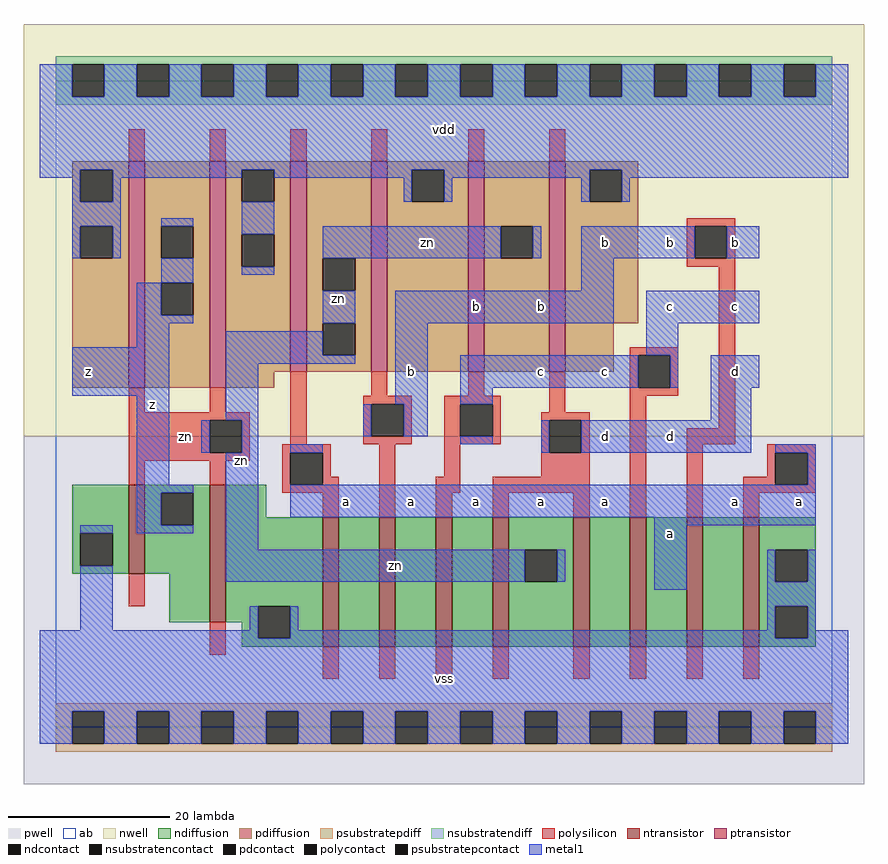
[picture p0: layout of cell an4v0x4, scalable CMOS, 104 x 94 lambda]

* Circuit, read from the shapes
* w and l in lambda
.subckt an4v0x4 a b c d vdd vss z zn
M1 z zn vss vss nfet w=11 l=2
M2 vss zn z vss nfet w=17 l=2
M3 n1 a vss vss nfet w=16 l=2
M4 n2 b n1 vss nfet w=16 l=2
M5 n3 c n2 vss nfet w=16 l=2
M6 zn d n3 vss nfet w=16 l=2
M7 n4 d zn vss nfet w=16 l=2
M8 n5 c n4 vss nfet w=16 l=2
M9 n6 b n5 vss nfet w=16 l=2
M10 vss a n6 vss nfet w=16 l=2
M11 z zn vdd vdd pfet w=28 l=2 m=2
M12 zn a vdd vdd pfet w=26 l=2
M13 vdd b zn vdd pfet w=26 l=2
M14 zn c vdd vdd pfet w=26 l=2
M15 vdd d zn vdd pfet w=26 l=2
.ends

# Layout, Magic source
magic
tech scmos
<< ab >>
rect 0 0 96 80
<< pwell >>
rect -4 -7 100 36
<< nwell >>
rect -4 36 100 87
<< polysilicon >>
rect 9 70 11 74
rect 19 70 21 74
rect 29 70 31 74
rect 39 70 41 74
rect 51 70 53 74
rect 61 70 63 74
rect 78 62 84 63
rect 78 58 79 62
rect 83 58 84 62
rect 78 57 84 58
rect 71 46 77 47
rect 9 39 11 42
rect 19 39 21 42
rect 9 38 24 39
rect 9 34 19 38
rect 23 34 24 38
rect 29 35 31 44
rect 39 41 41 44
rect 51 41 53 44
rect 38 40 44 41
rect 38 36 39 40
rect 43 36 44 40
rect 38 35 44 36
rect 48 40 55 41
rect 48 36 50 40
rect 54 36 55 40
rect 61 39 63 44
rect 71 42 72 46
rect 76 42 77 46
rect 71 41 77 42
rect 48 35 55 36
rect 60 38 66 39
rect 9 33 24 34
rect 28 34 34 35
rect 9 30 11 33
rect 19 30 21 33
rect 28 30 29 34
rect 33 31 34 34
rect 33 30 35 31
rect 9 15 11 19
rect 28 29 35 30
rect 33 26 35 29
rect 40 26 42 35
rect 48 31 50 35
rect 60 34 61 38
rect 65 34 66 38
rect 60 31 66 34
rect 47 29 50 31
rect 54 29 66 31
rect 47 26 49 29
rect 54 26 56 29
rect 64 26 66 29
rect 71 26 73 41
rect 82 37 84 57
rect 78 35 84 37
rect 78 26 80 35
rect 88 34 94 35
rect 88 31 89 34
rect 85 30 89 31
rect 93 30 94 34
rect 85 29 94 30
rect 85 26 87 29
rect 19 9 21 13
rect 33 6 35 10
rect 40 6 42 10
rect 47 6 49 10
rect 54 6 56 10
rect 64 6 66 10
rect 71 6 73 10
rect 78 6 80 10
rect 85 6 87 10
<< ndiffusion >>
rect 2 24 9 30
rect 2 20 3 24
rect 7 20 9 24
rect 2 19 9 20
rect 11 29 19 30
rect 11 25 13 29
rect 17 25 19 29
rect 11 19 19 25
rect 14 13 19 19
rect 21 26 26 30
rect 21 15 33 26
rect 21 13 25 15
rect 23 11 25 13
rect 29 11 33 15
rect 23 10 33 11
rect 35 10 40 26
rect 42 10 47 26
rect 49 10 54 26
rect 56 22 64 26
rect 56 18 58 22
rect 62 18 64 22
rect 56 10 64 18
rect 66 10 71 26
rect 73 10 78 26
rect 80 10 85 26
rect 87 22 94 26
rect 87 18 89 22
rect 93 18 94 22
rect 87 15 94 18
rect 87 11 89 15
rect 93 11 94 15
rect 87 10 94 11
<< pdiffusion >>
rect 2 69 9 70
rect 2 65 3 69
rect 7 65 9 69
rect 2 62 9 65
rect 2 58 3 62
rect 7 58 9 62
rect 2 42 9 58
rect 11 62 19 70
rect 11 58 13 62
rect 17 58 19 62
rect 11 55 19 58
rect 11 51 13 55
rect 17 51 19 55
rect 11 42 19 51
rect 21 69 29 70
rect 21 65 23 69
rect 27 65 29 69
rect 21 61 29 65
rect 21 57 23 61
rect 27 57 29 61
rect 21 44 29 57
rect 31 58 39 70
rect 31 54 33 58
rect 37 54 39 58
rect 31 50 39 54
rect 31 46 33 50
rect 37 46 39 50
rect 31 44 39 46
rect 41 69 51 70
rect 41 65 44 69
rect 48 65 51 69
rect 41 44 51 65
rect 53 62 61 70
rect 53 58 55 62
rect 59 58 61 62
rect 53 44 61 58
rect 63 69 72 70
rect 63 65 66 69
rect 70 65 72 69
rect 63 50 72 65
rect 63 44 69 50
rect 21 42 27 44
<< metal1 >>
rect -2 78 2 82
rect 6 78 10 82
rect 14 78 18 82
rect 22 78 26 82
rect 30 78 34 82
rect 38 78 42 82
rect 46 78 50 82
rect 54 78 58 82
rect 62 78 66 82
rect 70 78 74 82
rect 78 78 82 82
rect 86 78 90 82
rect 94 78 98 82
rect -2 69 98 78
rect -2 68 3 69
rect 2 65 3 68
rect 7 68 23 69
rect 7 65 8 68
rect 2 62 8 65
rect 27 68 44 69
rect 43 65 44 68
rect 48 68 66 69
rect 48 65 49 68
rect 65 65 66 68
rect 70 68 98 69
rect 70 65 71 68
rect 2 58 3 62
rect 7 58 8 62
rect 13 62 17 63
rect 13 55 17 58
rect 23 61 27 65
rect 23 56 27 57
rect 33 58 55 62
rect 59 58 60 62
rect 65 58 79 62
rect 83 58 87 62
rect 10 51 13 55
rect 10 50 17 51
rect 65 54 69 58
rect 33 50 37 54
rect 10 47 14 50
rect 2 41 14 47
rect 10 30 14 41
rect 21 46 33 49
rect 21 45 37 46
rect 42 50 69 54
rect 73 50 87 54
rect 21 38 25 45
rect 42 40 46 50
rect 73 46 77 50
rect 18 34 19 38
rect 23 34 25 38
rect 38 36 39 40
rect 43 36 46 40
rect 50 42 72 46
rect 76 42 77 46
rect 81 42 87 46
rect 50 40 54 42
rect 81 38 86 42
rect 50 35 54 36
rect 10 29 17 30
rect 10 25 13 29
rect 3 24 7 25
rect 10 24 17 25
rect 3 12 7 20
rect 21 22 25 34
rect 29 34 33 35
rect 60 34 61 38
rect 65 34 86 38
rect 89 34 94 35
rect 93 30 94 34
rect 29 26 94 30
rect 74 25 94 26
rect 21 18 58 22
rect 62 18 63 22
rect 74 17 78 25
rect 88 18 89 22
rect 93 18 94 22
rect 88 15 94 18
rect 24 12 25 15
rect -2 11 25 12
rect 29 12 30 15
rect 88 12 89 15
rect 29 11 89 12
rect 93 12 94 15
rect 93 11 98 12
rect -2 2 98 11
rect -2 -2 2 2
rect 6 -2 10 2
rect 14 -2 18 2
rect 22 -2 26 2
rect 30 -2 34 2
rect 38 -2 42 2
rect 46 -2 50 2
rect 54 -2 58 2
rect 62 -2 66 2
rect 70 -2 74 2
rect 78 -2 82 2
rect 86 -2 90 2
rect 94 -2 98 2
<< ntransistor >>
rect 9 19 11 30
rect 19 13 21 30
rect 33 10 35 26
rect 40 10 42 26
rect 47 10 49 26
rect 54 10 56 26
rect 64 10 66 26
rect 71 10 73 26
rect 78 10 80 26
rect 85 10 87 26
<< ptransistor >>
rect 9 42 11 70
rect 19 42 21 70
rect 29 44 31 70
rect 39 44 41 70
rect 51 44 53 70
rect 61 44 63 70
<< polycontact >>
rect 79 58 83 62
rect 19 34 23 38
rect 39 36 43 40
rect 50 36 54 40
rect 72 42 76 46
rect 29 30 33 34
rect 61 34 65 38
rect 89 30 93 34
<< ndcontact >>
rect 3 20 7 24
rect 13 25 17 29
rect 25 11 29 15
rect 58 18 62 22
rect 89 18 93 22
rect 89 11 93 15
<< pdcontact >>
rect 3 65 7 69
rect 3 58 7 62
rect 13 58 17 62
rect 13 51 17 55
rect 23 65 27 69
rect 23 57 27 61
rect 33 54 37 58
rect 33 46 37 50
rect 44 65 48 69
rect 55 58 59 62
rect 66 65 70 69
<< psubstratepcontact >>
rect 2 -2 6 2
rect 10 -2 14 2
rect 18 -2 22 2
rect 26 -2 30 2
rect 34 -2 38 2
rect 42 -2 46 2
rect 50 -2 54 2
rect 58 -2 62 2
rect 66 -2 70 2
rect 74 -2 78 2
rect 82 -2 86 2
rect 90 -2 94 2
<< nsubstratencontact >>
rect 2 78 6 82
rect 10 78 14 82
rect 18 78 22 82
rect 26 78 30 82
rect 34 78 38 82
rect 42 78 46 82
rect 50 78 54 82
rect 58 78 62 82
rect 66 78 70 82
rect 74 78 78 82
rect 82 78 86 82
rect 90 78 94 82
<< psubstratepdiff >>
rect 0 2 96 3
rect 0 -2 2 2
rect 6 -2 10 2
rect 14 -2 18 2
rect 22 -2 26 2
rect 30 -2 34 2
rect 38 -2 42 2
rect 46 -2 50 2
rect 54 -2 58 2
rect 62 -2 66 2
rect 70 -2 74 2
rect 78 -2 82 2
rect 86 -2 90 2
rect 94 -2 96 2
rect 0 -3 96 -2
<< nsubstratendiff >>
rect 0 82 96 83
rect 0 78 2 82
rect 6 78 10 82
rect 14 78 18 82
rect 22 78 26 82
rect 30 78 34 82
rect 38 78 42 82
rect 46 78 50 82
rect 54 78 58 82
rect 62 78 66 82
rect 70 78 74 82
rect 78 78 82 82
rect 86 78 90 82
rect 94 78 96 82
rect 0 77 96 78
<< labels >>
rlabel polysilicon 16 36 16 36 6 zn
rlabel metal1 12 40 12 40 6 z
rlabel metal1 4 44 4 44 6 z
rlabel metal1 35 53 35 53 6 zn
rlabel metal1 23 33 23 33 6 zn
rlabel metal1 48 6 48 6 6 vss
rlabel metal1 36 28 36 28 6 a
rlabel metal1 44 28 44 28 6 a
rlabel metal1 52 28 52 28 6 a
rlabel metal1 44 44 44 44 6 b
rlabel metal1 52 52 52 52 6 b
rlabel metal1 48 74 48 74 6 vdd
rlabel metal1 60 28 60 28 6 a
rlabel metal1 42 20 42 20 6 zn
rlabel metal1 68 28 68 28 6 a
rlabel metal1 76 24 76 24 6 a
rlabel metal1 60 44 60 44 6 c
rlabel metal1 68 36 68 36 6 d
rlabel metal1 68 44 68 44 6 c
rlabel metal1 76 36 76 36 6 d
rlabel metal1 76 52 76 52 6 c
rlabel metal1 60 52 60 52 6 b
rlabel metal1 46 60 46 60 6 zn
rlabel metal1 68 60 68 60 6 b
rlabel metal1 76 60 76 60 6 b
rlabel metal1 84 28 84 28 6 a
rlabel metal1 92 28 92 28 6 a
rlabel metal1 84 44 84 44 6 d
rlabel metal1 84 52 84 52 6 c
rlabel metal1 84 60 84 60 6 b
<< end >>
